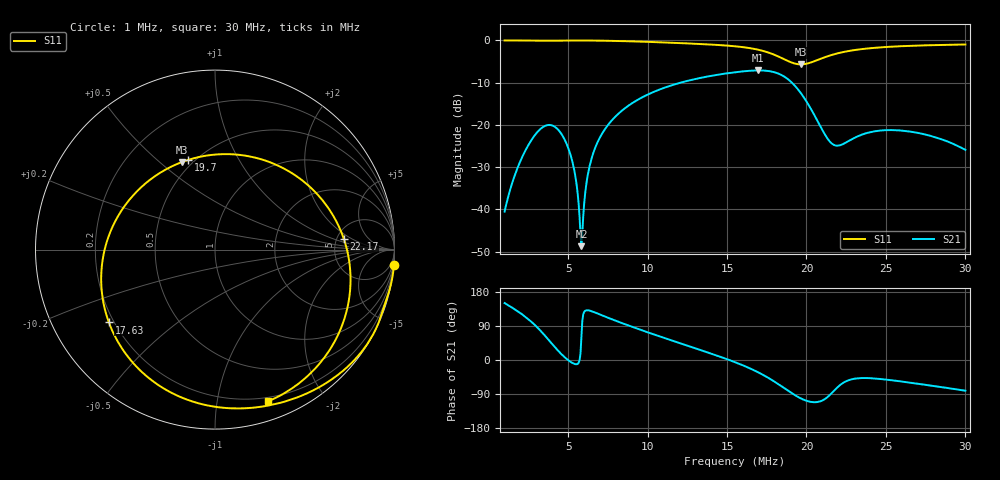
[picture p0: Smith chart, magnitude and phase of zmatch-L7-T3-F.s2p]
# HZ S RI R 50
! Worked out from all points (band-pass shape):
!   505 points, 1 MHz to 30 MHz, reference 50 ohm
!   highest |S21| = -7.09 dB at 16.94 MHz (marker M1); lowest = -48.7 dB at 5.833 MHz (marker M2)
!   |S21| within 3 dB of the highest: 11.98 MHz to 19.11 MHz (7.134 MHz wide, 45.9 % of centre)
!   lowest |S11| = -5.7 dB at 19.64 MHz (marker M3), VSWR 3.18, Z = 22.2 + j29.8 ohm
!   |S11| at or under -10 dB: nowhere
!   S12 and S22 are empty: the file has one direction only
!   S11 on the Smith chart (normalised r, x): 1 MHz: -0, -24; 17.63 MHz: 0.18, -0.30; 19.7 MHz: 0.46, +0.63; 22.17 MHz: 5.80, +1.41; 30 MHz: 0.16, -1.40
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1000000  0.9973 -0.085  -0.00817 0.00466  0 0  0 0
2438500  0.9778 -0.2042  -0.0185 0.0521  0 0  0 0
3934540  0.9412 -0.3191  0.0703 0.0704  0 0  0 0
4567480  0.9256 -0.368  0.0757 0.0214  0 0  0 0
5142880  0.9082 -0.4154  0.0444 -0.00362  0 0  0 0
5488120  0.8953 -0.4443  0.022 -0.00432  0 0  0 0
5833360  0.8808 -0.473  0.00177 0.00321  0 0  0 0
6293680  0.8586 -0.5106  -0.0191 0.022  0 0  0 0
7041700  0.8169 -0.569  -0.0361 0.064  0 0  0 0
8480200  0.7198 -0.6695  -0.0157 0.152  0 0  0 0
1.066672e7  0.5322 -0.7916  0.1155 0.2317  0 0  0 0
1.550008e7  -0.1343 -0.8434  0.4184 -0.042  0 0  0 0
1.693858e7  -0.4566 -0.6312  0.3745 -0.2348  0 0  0 0
1.762906e7  -0.591 -0.4058  0.291 -0.3225  0 0  0 0
1.866478e7  -0.5832 0.0987  0.0876 -0.3564  0 0  0 0
1.964296e7  -0.1833 0.4881  -0.0469 -0.2336  0 0  0 0
1.97005e7  -0.1515 0.499  -0.0499 -0.2247  0 0  0 0
2.033344e7  0.1946 0.5187  -0.0529 -0.1387  0 0  0 0
2.14267e7  0.6008 0.2724  -0.00454 -0.0647  0 0  0 0
2.217472e7  0.7181 0.0586  0.0254 -0.0522  0 0  0 0
2.51668e7  0.6662 -0.513  0.0529 -0.0689  0 0  0 0
3.000016e7  0.2951 -0.8459  0.00787 -0.0501  0 0  0 0
